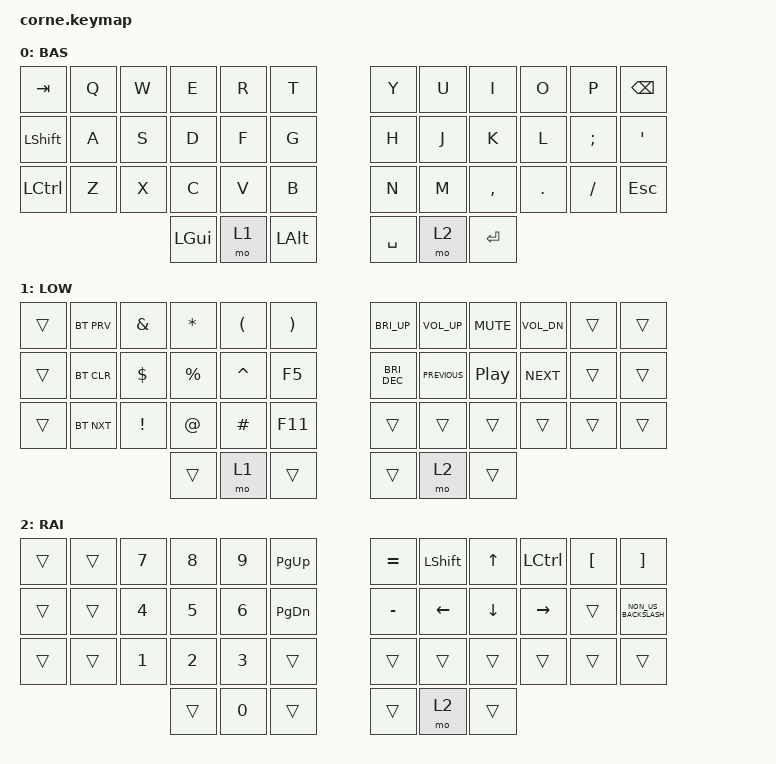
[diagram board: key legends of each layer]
/*
 * Copyright (c) 2020 The ZMK Contributors
 *
 * SPDX-License-Identifier: MIT
 */

#include <dt-bindings/led/led.h>
#include <dt-bindings/zmk/reset.h>
#include <behaviors.dtsi>
#include <dt-bindings/zmk/bt.h>
#include <dt-bindings/zmk/keys.h>

&led_strip { chain-length = <27>; };

/ {
    keymap {
        compatible = "zmk,keymap";

        default_layer {
            display-name = "BAS";

            // -----------------------------------------------------------------------------------------
            // |  TAB |  Q  |  W  |  E  |  R  |  T  |   |  Y  |  U   |  I  |  O  |  P  | BKSP |
            // | CTRL |  A  |  S  |  D  |  F  |  G  |   |  H  |  J   |  K  |  L  |  ;  |  '   |
            // | SHFT |  Z  |  X  |  C  |  V  |  B  |   |  N  |  M   |  ,  |  .  |  /  | ESC  |
            //                    | GUI | LWR | SPC |   | ENT | RSE  | ALT |

            bindings = <
&kp TAB           &kp Q  &kp W  &kp E     &kp R  &kp T           &kp Y      &kp U  &kp I      &kp O    &kp P     &kp BSPC
&kp LEFT_SHIFT    &kp A  &kp S  &kp D     &kp F  &kp G           &kp H      &kp J  &kp K      &kp L    &kp SEMI  &kp SQT
&kp LEFT_CONTROL  &kp Z  &kp X  &kp C     &kp V  &kp B           &kp N      &kp M  &kp COMMA  &kp DOT  &kp FSLH  &kp ESC
                                &kp LGUI  &mo 1  &kp LEFT_ALT    &kp SPACE  &mo 2  &kp ENTER
            >;
        };

        lower_layer {
            display-name = "LOW";

            // -----------------------------------------------------------------------------------------
            // |  TAB |  1  |  2  |  3  |  4  |  5  |   |  6  |  7  |  8  |  9  |  0  | BKSP |
            // | BTCLR| BT1 | BT2 | BT3 | BT4 | BT5 |   | LFT | DWN |  UP | RGT |     |      |
            // | SHFT |     |     |     |     |     |   |     |     |     |     |     |      |
            //                    | GUI |     | SPC |   | ENT |     | ALT |

            bindings = <
&trans  &bt BT_PRV  &kp AMPERSAND    &kp ASTERISK  &kp LEFT_PARENTHESIS  &kp RIGHT_PARENTHESIS    &kp C_BRI_UP   &kp C_VOLUME_UP  &kp C_MUTE        &kp C_VOL_DN  &trans  &trans
&trans  &bt BT_CLR  &kp DOLLAR       &kp PERCENT   &kp CARET             &kp F5                   &kp C_BRI_DEC  &kp C_PREVIOUS   &kp C_PLAY_PAUSE  &kp C_NEXT    &trans  &trans
&trans  &bt BT_NXT  &kp EXCLAMATION  &kp AT_SIGN   &kp HASH              &kp F11                  &trans         &trans           &trans            &trans        &trans  &trans
                                     &trans        &mo 1                 &trans                   &trans         &mo 2            &trans
            >;
        };

        raise_layer {
            display-name = "RAI";

            // -----------------------------------------------------------------------------------------
            // |  TAB |  !  |  @  |  #  |  $  |  %  |   |  ^  |  &  |  *  |  (  |  )  | BKSP |
            // | CTRL |     |     |     |     |     |   |  -  |  =  |  [  |  ]  |  \  |  `   |
            // | SHFT |     |     |     |     |     |   |  _  |  +  |  {  |  }  | "|" |  ~   |
            //                    | GUI |     | SPC |   | ENT |     | ALT |

            bindings = <
&trans  &trans  &kp NUMBER_7  &kp NUMBER_8  &kp NUMBER_9  &kp PAGE_UP      &kp EQUAL  &kp LEFT_SHIFT  &kp UP_ARROW    &kp LEFT_CONTROL  &kp LEFT_BRACKET  &kp RIGHT_BRACKET
&trans  &trans  &kp NUMBER_4  &kp NUMBER_5  &kp NUMBER_6  &kp PAGE_DOWN    &kp MINUS  &kp LEFT        &kp DOWN_ARROW  &kp RIGHT         &trans            &kp NON_US_BACKSLASH
&trans  &trans  &kp NUMBER_1  &kp NUMBER_2  &kp NUMBER_3  &trans           &trans     &trans          &trans          &trans            &trans            &trans
                              &trans        &kp NUMBER_0  &trans           &trans     &mo 2           &trans
            >;
        };
    };
};
